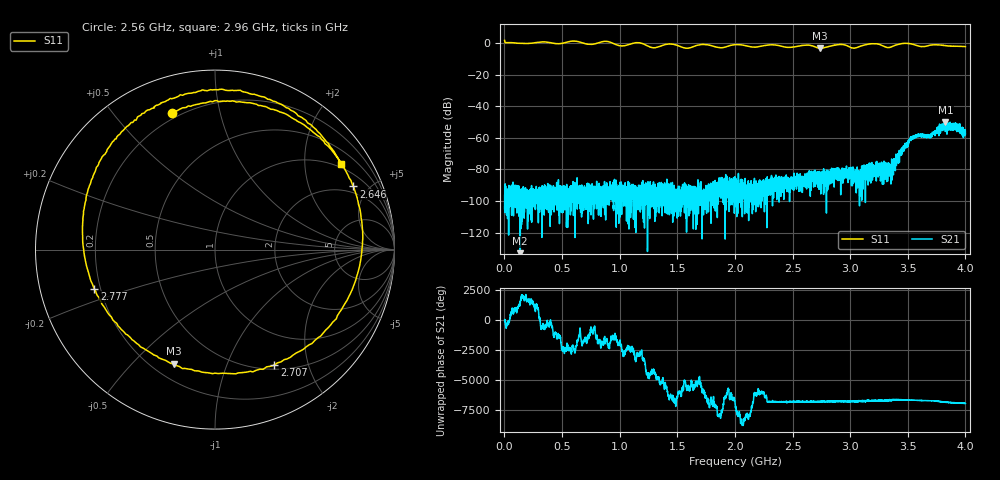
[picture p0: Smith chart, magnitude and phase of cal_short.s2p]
!Created with skrf (http://scikit-rf.org).
# GHz S RI R 50.0
!freq ReS11 ImS11 ReS21 ImS21 ReS12 ImS12 ReS22 ImS22
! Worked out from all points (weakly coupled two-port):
!   4000 points, 1 MHz to 4 GHz, reference 50 ohm
!   highest |S21| = -49.93 dB at 3.827 GHz (marker M1); lowest = -133.1 dB at 137 MHz (marker M2)
!   lowest |S11| = -3.4 dB at 2.737 GHz (marker M3), VSWR 5.16, Z = 14.2 - j33.2 ohm
!   |S11| at or under -10 dB: nowhere
!   S12 and S22 are empty: the file has one direction only
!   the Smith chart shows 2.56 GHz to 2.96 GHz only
!   S11 on the Smith chart (normalised r, x): 2.56 GHz: 0.17, +0.72; 2.646 GHz: 1.60, +3.99; 2.707 GHz: 0.55, -1.49; 2.777 GHz: 0.18, -0.15; 2.96 GHz: 0.89, +3.03
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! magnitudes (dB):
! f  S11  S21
! 1 MHz  1.5  -104.8
! 137 MHz  -0.2  -133.1
! 668 MHz  0.2  -90.9
! 886 MHz  1.0  -97.9
! 1.02 GHz  -1.9  -95.4
! 1.161 GHz  0.2  -91.9
! 1.334 GHz  -2.6  -101.4
! 2.001 GHz  -1.1  -89.4
! 2.56 GHz  -2.0  -87.5
! 2.646 GHz  -1.4  -85.4
! 2.667 GHz  -1.8  -87.7
! 2.707 GHz  -2.8  -81.7
! 2.737 GHz  -3.4  -83.7
! 2.777 GHz  -3.0  -85.8
! 2.96 GHz  -1.4  -79.6
! 3.334 GHz  -3.0  -77.3
! 3.374 GHz  -2.0  -79.2
! 3.531 GHz  -0.7  -59.5
! 3.691 GHz  -1.5  -59.9
! 3.827 GHz  -1.7  -49.9
! 3.923 GHz  -2.1  -53.0
! 4 GHz  -2.3  -57.5
